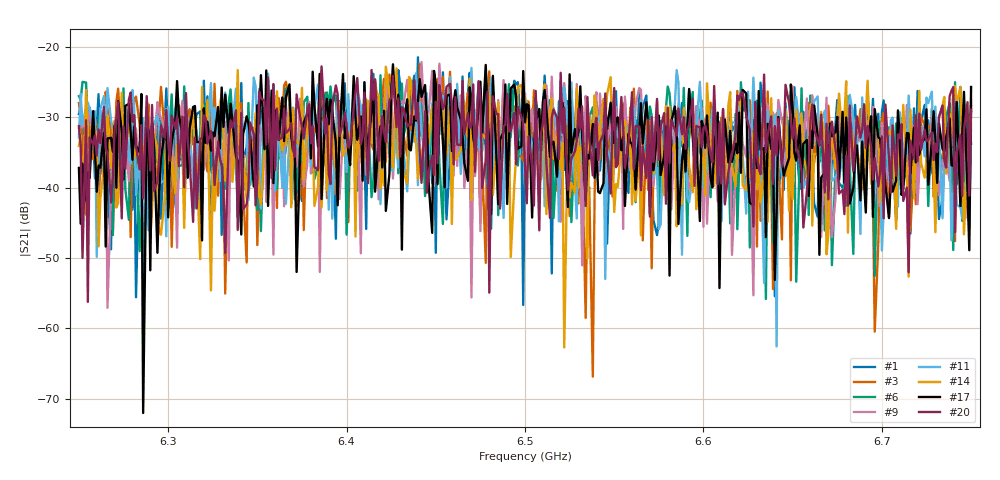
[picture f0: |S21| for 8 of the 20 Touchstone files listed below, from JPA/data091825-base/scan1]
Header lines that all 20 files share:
# Hz S RI R 50
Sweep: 6.25 GHz to 6.75 GHz
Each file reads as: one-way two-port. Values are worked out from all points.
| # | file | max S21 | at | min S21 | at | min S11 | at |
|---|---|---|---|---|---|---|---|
| 1 | trace80.s2p | -21.44 dB | 6.44 GHz | -56.7 dB | 6.499 GHz | -4.7 dB | 6.749 GHz |
| 2 | trace81.s2p | -21.85 dB | 6.496 GHz | -57.2 dB | 6.351 GHz | -4.3 dB | 6.715 GHz |
| 3 | trace82.s2p | -22.37 dB | 6.441 GHz | -66.9 dB | 6.538 GHz | -3.9 dB | 6.691 GHz |
| 4 | trace83.s2p | -21.31 dB | 6.462 GHz | -74.5 dB | 6.694 GHz | -3.4 dB | 6.686 GHz |
| 5 | trace84.s2p | -20.69 dB | 6.414 GHz | -55.5 dB | 6.662 GHz | -3.4 dB | 6.658 GHz |
| 6 | trace85.s2p | -23.26 dB | 6.478 GHz | -55.8 dB | 6.635 GHz | -3.5 dB | 6.678 GHz |
| 7 | trace86.s2p | -21.08 dB | 6.421 GHz | -60.2 dB | 6.678 GHz | -3.1 dB | 6.699 GHz |
| 8 | trace87.s2p | -23.54 dB | 6.405 GHz | -64.5 dB | 6.459 GHz | -3.4 dB | 6.688 GHz |
| 9 | trace88.s2p | -22.11 dB | 6.442 GHz | -57.1 dB | 6.266 GHz | -3.4 dB | 6.656 GHz |
| 10 | trace89.s2p | -22.58 dB | 6.422 GHz | -68.2 dB | 6.265 GHz | -3.3 dB | 6.641 GHz |
| 11 | trace90.s2p | -22.95 dB | 6.47 GHz | -62.6 dB | 6.641 GHz | -3.1 dB | 6.669 GHz |
| 12 | trace91.s2p | -21.75 dB | 6.429 GHz | -59.0 dB | 6.701 GHz | -3.2 dB | 6.645 GHz |
| 13 | trace92.s2p | -20.69 dB | 6.445 GHz | -54.0 dB | 6.346 GHz | -3.4 dB | 6.671 GHz |
| 14 | trace93.s2p | -22.78 dB | 6.422 GHz | -62.7 dB | 6.522 GHz | -3.3 dB | 6.678 GHz |
| 15 | trace94.s2p | -23.45 dB | 6.471 GHz | -62.6 dB | 6.35 GHz | -3.2 dB | 6.656 GHz |
| 16 | trace95.s2p | -22.81 dB | 6.458 GHz | -63.7 dB | 6.706 GHz | -3.4 dB | 6.678 GHz |
| 17 | trace96.s2p | -22.44 dB | 6.426 GHz | -72.0 dB | 6.286 GHz | -3.3 dB | 6.676 GHz |
| 18 | trace97.s2p | -21.37 dB | 6.445 GHz | -63.0 dB | 6.362 GHz | -3.8 dB | 6.674 GHz |
| 19 | trace98.s2p | -23.04 dB | 6.449 GHz | -54.8 dB | 6.73 GHz | -3.4 dB | 6.681 GHz |
| 20 | trace99.s2p | -22.73 dB | 6.386 GHz | -56.2 dB | 6.255 GHz | -3.5 dB | 6.655 GHz |
